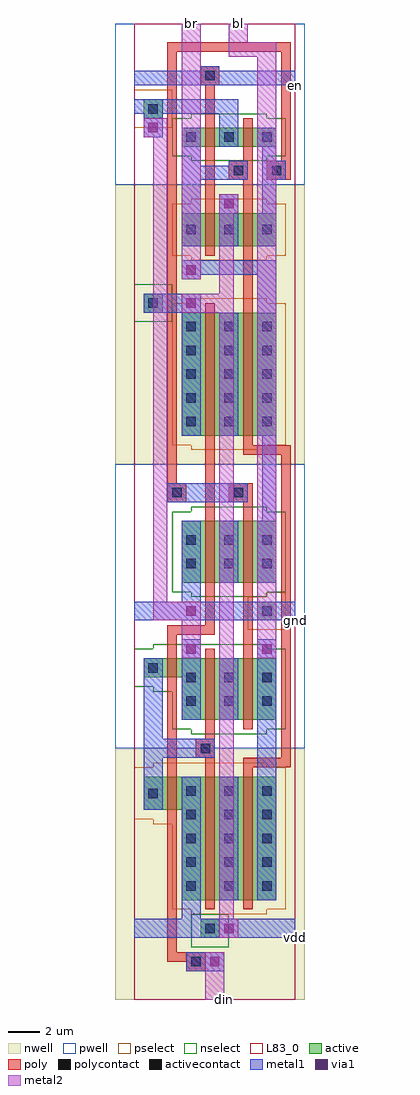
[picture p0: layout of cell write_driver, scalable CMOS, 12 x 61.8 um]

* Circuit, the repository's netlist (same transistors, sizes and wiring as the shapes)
.SUBCKT write_driver din bl br en vdd gnd
M1 din_bar din gnd gnd n w=1.2u l=0.6u
M2 din_bar din vdd vdd p w=2.1u l=0.6u
M3 en_bar en gnd gnd n w=1.2u l=0.6u 
M4 en_bar en vdd vdd p w=2.1u l=0.6u 
M5 en1 en_bar gnd gnd n w=1.2u l=0.6u 
M6 en1 en_bar vdd vdd p w=2.1u l=0.6u 
M7 vdd din net_1 vdd p w=7.8u l=0.6u 
M8 net_1 en_bar br vdd p w=7.8u l=0.6u  
M9 br en1 net_2 gnd n w=3.9u l=0.6u 
M10 net_2 din gnd gnd n w=3.9u l=0.6u 
M11 vdd din_bar net_3 vdd p w=7.8u l=0.6u
M12 net_3 en_bar bl vdd p w=7.8u l=0.6u  
M13 bl en1 net_4 gnd n w=3.9u l=0.6u
M14 net_4 din_bar gnd gnd n w=3.9u l=0.6u 
.ENDS	write_driver

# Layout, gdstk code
import gdstk
lib = gdstk.Library(unit=1e-6, precision=1e-09)
def R(c, l, rs):  # rectangles x0, y0, x1, y1
    for r in rs: c.add(gdstk.rectangle(r[:2], r[2:], *l))
def A(c, l, x, y, w, h, nx, ny, dx, dy):  # array of equal rectangles
    R(c, l, [(x+i*dx, y+j*dy, x+i*dx+w, y+j*dy+h) for i in range(nx) for j in range(ny)])
pwell = (41, 0)
nwell = (42, 0)
active = (43, 0)
pselect = (44, 0)
nselect = (45, 0)
poly = (46, 0)
polycontact = (47, 0)
activecontact = (48, 0)
metal1 = (49, 0)
via1 = (50, 0)
metal2 = (51, 0)
L83_0 = (83, 0)

write_driver = lib.new_cell('write_driver')
R(write_driver, pwell, [(-1.2,15.9,10.8,33.9), (-1.2,51.6,10.8,61.8)])
R(write_driver, nwell, [(-1.2,0,10.8,15.9), (-1.2,33.9,10.8,51.6)])
R(write_driver, active, [(4.2,3.9,5.4,5.1), (3,6.3,9,12), (0.6,12,9,14.1), (3,17.7,9,20.4), (0.6,20.4,9,21.6), (7.8,24,9,25.2), (3,26.4,9,30.3), (3,35.7,9,43.5), (0.6,43.5,1.8,44.7), (3,47.7,9,49.8), (3,54,9,55.2), (0.6,55.8,1.8,57)])
R(write_driver, pselect, [(3.6,5.4,8.4,5.7), (2.4,5.7,9.6,11.1), (1.2,11.1,9.6,11.4), (0,11.4,9.6,14.7), (1.2,14.7,8.4,15), (7.2,23.4,9.6,25.5), (8.4,25.5,9.6,25.8), (3.6,34.8,8.4,35.1), (2.4,35.1,9.6,44.1), (3.6,44.1,8.4,44.4), (3.6,46.8,8.4,47.1), (2.4,47.1,9.6,50.4), (3.6,50.4,8.4,50.7), (0,55.2,2.4,57.6)])
R(write_driver, nselect, [(3.6,3.3,6,5.4), (3.6,16.8,8.4,17.1), (2.4,17.1,9.6,19.5), (1.2,19.5,9.6,19.8), (0,19.8,9.6,22.2), (1.2,22.2,8.4,22.5), (3.6,25.5,8.4,25.8), (2.4,25.8,9.6,30.9), (3.6,30.9,8.4,31.2), (0,42.9,2.4,45.3), (3.6,53.1,8.4,53.4), (2.4,53.4,9.6,55.8), (3.6,55.8,8.4,56.1)])
R(write_driver, poly, [(3.3,1.8,4.5,2.4), (2.1,2.4,4.5,3), (2.1,3,2.7,23.1), (4.5,5.7,5.1,15.3), (6.9,5.7,7.5,14.7), (6.9,14.7,9.9,15.3), (3.9,15.3,5.1,16.5), (9.3,15.3,9.9,34.5), (4.5,16.5,5.1,22.2), (6.9,17.1,7.5,31.5), (2.1,23.1,5.1,23.7), (4.5,23.7,5.1,44.1), (2.1,31.5,3.3,32.7), (6,31.5,7.5,32.7), (2.1,32.7,2.7,60), (6.9,34.5,9.9,35.1), (6.9,35.1,7.5,51.9), (4.5,47.1,5.1,57.9), (6,51.9,7.5,53.1), (8.4,51.9,9.9,53.1), (6.9,53.1,7.5,55.8), (9.3,53.1,9.9,60), (4.2,57.9,5.4,59.1), (2.1,60,9.9,60.6)])
R(write_driver, polycontact, [(3.6,2.1,4.2,2.7), (4.2,15.6,4.8,16.2), (2.4,31.8,3,32.4), (6.3,31.8,6.9,32.4), (6.3,52.2,6.9,52.8), (8.7,52.2,9.3,52.8), (4.5,58.2,5.1,58.8)])
A(write_driver, activecontact, 3.3, 6.9, 0.6, 0.6, 3, 5, 2.4, 1.5)
A(write_driver, activecontact, 3.3, 18.6, 0.6, 0.6, 3, 2, 2.4, 1.5)
A(write_driver, activecontact, 3.3, 27.3, 0.6, 0.6, 3, 2, 2.4, 1.5)
A(write_driver, activecontact, 3.3, 36.3, 0.6, 0.6, 3, 5, 2.4, 1.5)
A(write_driver, activecontact, 3.3, 48.45, 0.6, 0.6, 3, 2, 2.4, 5.85)
R(write_driver, activecontact, [(4.5,4.2,5.1,4.8), (0.9,12.75,1.5,13.35), (0.9,20.7,1.5,21.3), (8.1,24.3,8.7,24.9), (0.9,43.8,1.5,44.4), (0.9,56.1,1.5,56.7)])
R(write_driver, metal1, [(3.3,1.8,5.7,3), (0,3.9,10.2,5.1), (3,5.1,4.2,14.1), (5.4,6.3,6.6,14.1), (7.8,6.3,9,22.8), (0.6,12,1.8,15.3), (0.6,15.3,5.1,16.5), (0.6,16.5,1.8,21.6), (3,17.7,4.2,22.8), (5.4,17.7,6.6,21.6), (0,24,10.2,25.2), (3,25.2,4.2,30.3), (5.4,26.4,6.6,30.3), (7.8,26.4,9,30.3), (8.1,30.3,9,35.7), (2.1,31.5,7.2,32.7), (3,35.7,4.2,43.5), (5.4,35.7,6.6,43.5), (7.8,35.7,9,45.9), (0.6,43.5,4.2,44.7), (3,45.6,4.2,45.9), (3,45.9,9,46.8), (3,47.7,4.2,51.9), (5.4,47.7,6.6,51), (7.8,47.7,9,49.8), (8.1,49.8,9,51.9), (3,51.9,7.2,52.8), (8.1,51.9,9.6,53.1), (3,52.8,4.2,55.2), (6,52.8,7.2,53.1), (8.1,53.1,9,54), (5.4,54,6.6,56.1), (7.8,54,9,55.2), (0.6,54.6,1.8,56.1), (0,56.1,6.6,57), (0,57.9,10.2,58.8), (4.2,58.8,5.4,59.1)])
R(write_driver, via1, [(4.8,2.1,5.4,2.7), (5.7,4.2,6.3,4.8), (3.3,21.9,3.9,22.5), (8.1,21.9,8.7,22.5), (3.3,24.3,3.9,24.9), (3.3,43.8,3.9,44.4), (3.3,45.9,3.9,46.5), (5.7,50.1,6.3,50.7), (0.9,54.9,1.5,55.5)])
R(write_driver, metal2, [(4.5,0,5.7,3), (5.4,3.9,6.6,5.1), (5.4,5.1,6.3,43.5), (3,21.6,4.2,24), (7.8,21.6,9,59.7), (1.2,24,4.2,25.2), (1.2,25.2,2.1,54.6), (3,43.5,6.3,44.7), (5.4,44.7,6.3,49.8), (3,45.6,4.2,61.8), (5.4,49.8,6.6,51), (0.6,54.6,2.1,55.8), (6,59.7,9,60.6), (6,60.6,7.2,61.8)])
R(write_driver, L83_0, [(0,0,10.2,61.8)])
write_driver.add(gdstk.Label('din', (5.7,0), layer=51, texttype=0))
write_driver.add(gdstk.Label('vdd', (10.2,3.9), layer=49, texttype=0))
write_driver.add(gdstk.Label('gnd', (10.2,24), layer=49, texttype=0))
write_driver.add(gdstk.Label('en', (10.2,57.9), layer=49, texttype=0))
write_driver.add(gdstk.Label('bl', (6.6,61.8), layer=51, texttype=0))
write_driver.add(gdstk.Label('br', (3.6,61.8), layer=51, texttype=0))

lib.write_gds('write_driver.gds')
